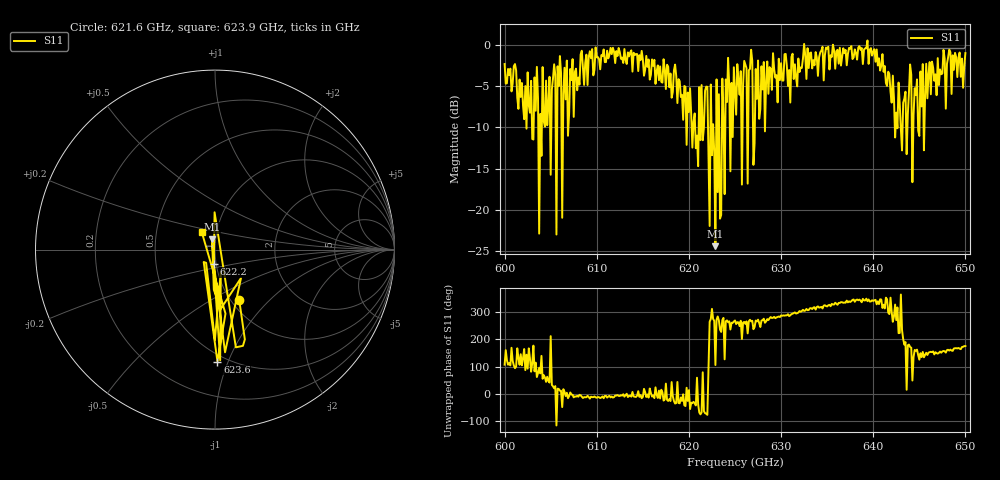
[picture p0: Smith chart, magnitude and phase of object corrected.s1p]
!Created with skrf (http://scikit-rf.org).
# GHz S MA R 50.0
!freq magS11 angS11
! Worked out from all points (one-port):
!   401 points, 600 GHz to 650 GHz, reference 50 ohm
!   lowest |S11| = -24.4 dB at 622.9 GHz (marker M1), VSWR 1.13, Z = 48.1 + j5.62 ohm
!   |S11| at or under -10 dB: 602.9752 GHz to 603.1493 GHz (174.1 MHz wide, 0.0289 % of centre); 620.6754 GHz to 621.0613 GHz (385.9 MHz wide, 0.0622 % of centre); 621.4709 GHz to 621.6266 GHz (155.6 MHz wide, 0.025 % of centre)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
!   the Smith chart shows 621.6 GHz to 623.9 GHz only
!   S11 on the Smith chart (normalised r, x): 621.6 GHz: 1.09, -0.68; 622.2 GHz: 0.97, -0.16; 623.6 GHz: 0.45, -0.92; 623.9 GHz: 0.85, +0.17
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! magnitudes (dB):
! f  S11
! 600 GHz  -2.3
! 602.9 GHz  -4.4
! 603.4 GHz  -8.0
! 604 GHz  -13.4
! 604.4 GHz  -9.9
! 606.2 GHz  -20.9
! 608.5 GHz  -2.8
! 612.5 GHz  -0.9
! 618.8 GHz  -7.0
! 620.8 GHz  -12.5
! 621.6 GHz  -10.1
! 622.2 GHz  -21.9
! 622.9 GHz  -24.4
! 623.5 GHz  -20.6
! 623.6 GHz  -4.1
! 623.9 GHz  -18.1
! 625 GHz  -5.7
! 626.8 GHz  -0.6
! 627.2 GHz  -2.9
! 629 GHz  -5.5
! 631.2 GHz  -1.1
! 637.5 GHz  -0.5
! 640.1 GHz  -0.5
! 642.9 GHz  -7.1
! 643.8 GHz  -8.5
! 645.2 GHz  -7.5
! 646.2 GHz  -6.0
! 650 GHz  -1.0
